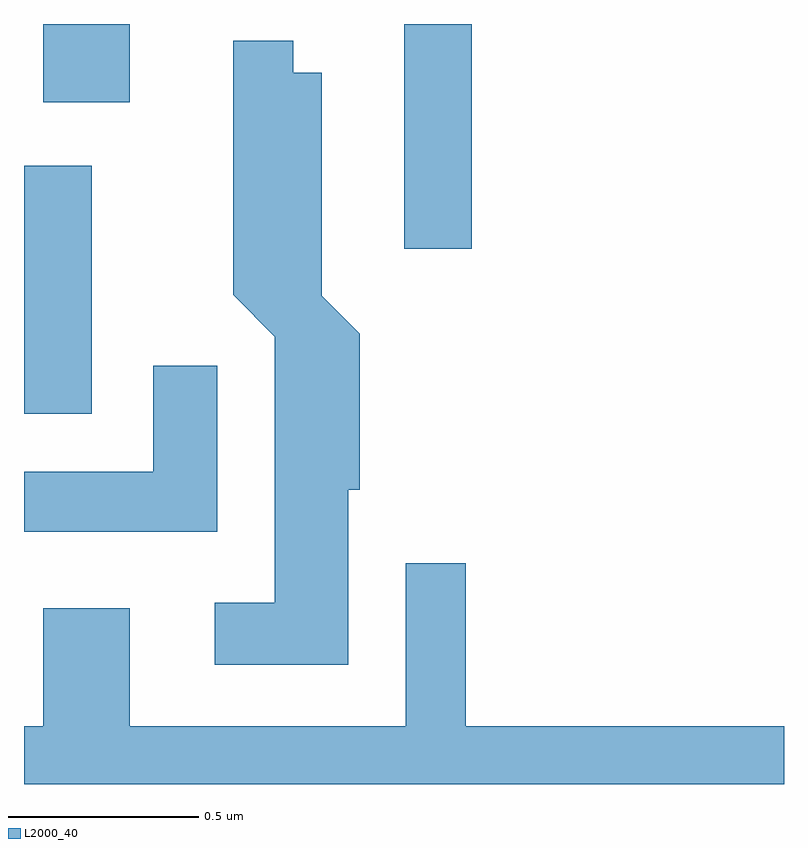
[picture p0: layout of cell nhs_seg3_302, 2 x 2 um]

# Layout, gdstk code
import gdstk
lib = gdstk.Library(unit=1e-6, precision=1e-09)
def R(c, l, rs):  # rectangles x0, y0, x1, y1
    for r in rs: c.add(gdstk.rectangle(r[:2], r[2:], *l))
def P(c, l, *ps):  # polygons
    for p in ps: c.add(gdstk.Polygon(p, *l))
L2000_40 = (2000, 40)

nhs_seg3_302 = lib.new_cell('nhs_seg3_302')
R(nhs_seg3_302, L2000_40, [(187.611,1144.866,187.789,1145.519), (188.611,1145.301,188.789,1145.892), (187.661,1145.686,187.889,1145.892)])
P(nhs_seg3_302, L2000_40, [(188.464,1144.666),(188.494,1144.666),(188.494,1145.077),(188.394,1145.177),(188.394,1145.764),(188.319,1145.764),(188.319,1145.848),(188.161,1145.848),(188.161,1145.179),(188.271,1145.069),(188.271,1144.369),(188.113,1144.369),(188.113,1144.206),(188.464,1144.206)],
  [(188.119,1144.993),(187.951,1144.993),(187.951,1144.714),(187.611,1144.714),(187.611,1144.556),(188.119,1144.556)],
  [(189.611,1144.044),(188.774,1144.044),(188.774,1144.473),(188.616,1144.473),(188.616,1144.044),(187.889,1144.044),(187.889,1144.354),(187.661,1144.354),(187.661,1144.044),(187.611,1144.044),(187.611,1143.892),(189.611,1143.892)])

lib.write_gds('nhs_seg3_302.gds')
